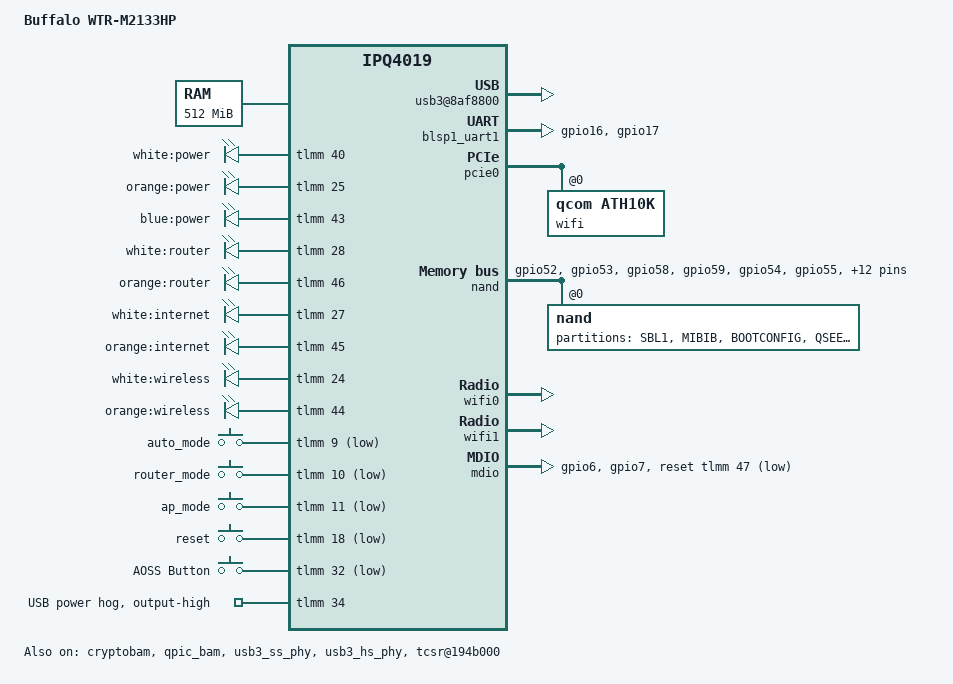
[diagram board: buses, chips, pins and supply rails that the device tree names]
// SPDX-License-Identifier: ISC
/*
 * Copyright (c) 2015 - 2016, The Linux Foundation. All rights reserved.
 * Copyright (c) 2020 Yanase Yuki <dev@zpc.sakura.ne.jp>
 */

#include "qcom-ipq4019.dtsi"
#include <dt-bindings/input/input.h>
#include <dt-bindings/gpio/gpio.h>
#include <dt-bindings/soc/qcom,tcsr.h>

/ {
	model = "Buffalo WTR-M2133HP";
	compatible = "buffalo,wtr-m2133hp", "qcom,ipq4019";

	memory {
		device_type = "memory";
		reg = <0x80000000 0x20000000>;
	};

	chosen {
		/*
		 * U-Boot adds "ubi.mtd=rootfs root=mtd:ubi_rootfs" to
		 * kernel command line. But we use different partition names,
		 * so we have to set correct parameters.
		 */
		bootargs-append = " ubi.mtd=ubi root=/dev/ubiblock0_1";
	};

	aliases {
		led-boot = &led_power_blue;
		led-failsafe = &led_power_orange;
		led-running = &led_power_white;
		led-upgrade = &led_power_blue;
		label-mac-device = &gmac0;
	};

	soc {
		rng@22000 {
			status = "okay";
		};

		tcsr@1949000 {
			compatible = "qcom,tcsr";
			reg = <0x1949000 0x100>;
			qcom,wifi_glb_cfg = <TCSR_WIFI_GLB_CFG>;
		};

		tcsr@194b000 {
			compatible = "qcom,tcsr";
			reg = <0x194b000 0x100>;
			qcom,usb-hsphy-mode-select = <TCSR_USB_HSPHY_HOST_MODE>;
			status = "okay";
		};

		ess_tcsr@1953000 {
			compatible = "qcom,tcsr";
			reg = <0x1953000 0x1000>;
			qcom,ess-interface-select = <TCSR_ESS_PSGMII>;
		};

		tcsr@1957000 {
			compatible = "qcom,tcsr";
			reg = <0x1957000 0x100>;
			qcom,wifi_noc_memtype_m0_m2 = <TCSR_WIFI_NOC_MEMTYPE_M0_M2>;
		};

		crypto@8e3a000 {
			status = "okay";
		};

		watchdog@b017000 {
			status = "okay";
		};

		ess-switch@c000000 {
			status = "okay";
			switch_lan_bmp = <0x1c>;
		};

		ess-psgmii@98000 {
			status = "okay";
		};

		edma@c080000 {
			status = "okay";
		};

		usb3@8af8800 {
			status = "okay";
		};
	};

	leds {
		compatible = "gpio-leds";

		led_power_white: power_white {
			label = "white:power";
			gpios = <&tlmm 40 GPIO_ACTIVE_HIGH>;
		};

		led_power_orange: power_orange {
			label = "orange:power";
			gpios = <&tlmm 25 GPIO_ACTIVE_HIGH>;
		};

		led_power_blue: power_blue {
			label = "blue:power";
			gpios = <&tlmm 43 GPIO_ACTIVE_HIGH>;
		};

		router_white {
			label = "white:router";
			gpios = <&tlmm 28 GPIO_ACTIVE_HIGH>;
		};

		router_orange {
			label = "orange:router";
			gpios = <&tlmm 46 GPIO_ACTIVE_HIGH>;
		};

		internet_white {
			label = "white:internet";
			gpios = <&tlmm 27 GPIO_ACTIVE_HIGH>;
		};

		internet_orange {
			label = "orange:internet";
			gpios = <&tlmm 45 GPIO_ACTIVE_HIGH>;
		};

		wireless_white {
			label = "white:wireless";
			gpios = <&tlmm 24 GPIO_ACTIVE_HIGH>;
		};

		wireless_orange {
			label = "orange:wireless";
			gpios = <&tlmm 44 GPIO_ACTIVE_HIGH>;
		};
	};

	keys {
		compatible = "gpio-keys";

		auto_mode {
			label = "auto_mode";
			gpios = <&tlmm 9 GPIO_ACTIVE_LOW>;
			linux,code = <BTN_0>;
			linux,input-type = <EV_SW>;
		};

		router_mode {
			label = "router_mode";
			gpios = <&tlmm 10 GPIO_ACTIVE_LOW>;
			linux,code = <BTN_1>;
			linux,input-type = <EV_SW>;
		};

		ap_mode {
			label = "ap_mode";
			gpios = <&tlmm 11 GPIO_ACTIVE_LOW>;
			linux,code = <BTN_2>;
			linux,input-type = <EV_SW>;
		};

		reset {
			label = "reset";
			gpios = <&tlmm 18 GPIO_ACTIVE_LOW>;
			linux,code = <KEY_RESTART>;
		};

		wps {
			label = "AOSS Button";
			gpios = <&tlmm 32 GPIO_ACTIVE_LOW>;
			linux,code = <KEY_WPS_BUTTON>;
		};
	};
};

&tlmm {
	serial_0_pins: serial0_pinmux {
		mux {
			pins = "gpio16", "gpio17";
			function = "blsp_uart0";
			bias-disable;
		};
	};

	mdio_pins: mdio_pinmux {
		mux_1 {
			pins = "gpio6";
			function = "mdio";
			bias-pull-up;
		};

		mux_2 {
			pins = "gpio7";
			function = "mdc";
			bias-pull-up;
		};
	};

	nand_pins: nand_pins {
		pullups {
			pins = "gpio52", "gpio53", "gpio58",
				"gpio59";
			function = "qpic";
			bias-pull-up;
		};

		pulldowns {
			pins = "gpio54", "gpio55", "gpio56",
				"gpio57", "gpio60", "gpio61",
				"gpio62", "gpio63", "gpio64",
				"gpio65", "gpio66", "gpio67",
				"gpio68", "gpio69";
			function = "qpic";
			bias-pull-down;
		};
	};

	usb_power {
		line-name = "USB power";
		gpios = <34 GPIO_ACTIVE_HIGH>;
		gpio-hog;
		output-high;
	};
};

&blsp_dma {
	status = "okay";
};

&blsp1_uart1 {
	pinctrl-0 = <&serial_0_pins>;
	pinctrl-names = "default";
	status = "okay";
};

&cryptobam {
	status = "okay";
};

&pcie0 {
	status = "okay";

	bridge@0,0 {
		reg = <0x00000000 0 0 0 0>;
		#address-cells = <3>;
		#size-cells = <2>;
		ranges;

		wifi@0,0 {
			compatible = "qcom,ath10k";
			reg = <0 0 0 0 0>;
			nvmem-cell-names = "pre-calibration", "mac-address";
			nvmem-cells = <&precal_art_9000>, <&macaddr_orgdata_32>;
			qcom,ath10k-calibration-variant = "Buffalo-WTR-M2133HP";
		};
	};
};

&qpic_bam {
	status = "okay";
};

&nand {
	pinctrl-0 = <&nand_pins>;
	pinctrl-names = "default";
	status = "okay";

	nand@0 {
		partitions {
			compatible = "fixed-partitions";
			#address-cells = <1>;
			#size-cells = <1>;

			partition@0 {
				label = "SBL1";
				reg = <0x0000000 0x0100000>;
				read-only;
			};

			partition@100000 {
				label = "MIBIB";
				reg = <0x0100000 0x0100000>;
				read-only;
			};

			partition@200000 {
				label = "BOOTCONFIG";
				reg = <0x0200000 0x0100000>;
				read-only;
			};

			partition@300000 {
				label = "QSEE";
				reg = <0x0300000 0x0100000>;
				read-only;
			};

			partition@400000 {
				label = "QSEE_1";
				reg = <0x0400000 0x0100000>;
				read-only;
			};

			partition@500000 {
				label = "CDT";
				reg = <0x0500000 0x0080000>;
				read-only;
			};

			partition@580000 {
				label = "CDT_1";
				reg = <0x0580000 0x0080000>;
				read-only;
			};

			partition@600000 {
				label = "BOOTCONFIG1";
				reg = <0x0600000 0x0080000>;
				read-only;
			};

			partition@680000 {
				label = "APPSBLENV";
				reg = <0x0680000 0x0080000>;
			};

			partition@700000 {
				label = "APPSBL";
				reg = <0x0700000 0x0200000>;
				read-only;
			};

			partition@900000 {
				label = "APPSBL_1";
				reg = <0x0900000 0x0200000>;
				read-only;
			};

			partition@b00000 {
				label = "ART";
				reg = <0x0b00000 0x0080000>;
				read-only;
				compatible = "nvmem-cells";
				#address-cells = <1>;
				#size-cells = <1>;

				precal_art_1000: precal@1000 {
					reg = <0x1000 0x2f20>;
				};

				precal_art_5000: precal@5000 {
					reg = <0x5000 0x2f20>;
				};

				precal_art_9000: precal@9000 {
					reg = <0x5000 0x2f20>;
				};
			};

			partition@b80000 {
				label = "ART_1";
				reg = <0x0b80000 0x0080000>;
				read-only;
			};

			orgdata: partition@c00000 {
				label = "ORGDATA";
				reg = <0x0c00000 0x0080000>;
				read-only;
				compatible = "nvmem-cells";
				#address-cells = <1>;
				#size-cells = <1>;

				macaddr_orgdata_20: macaddr@20 {
					reg = <0x20 0x6>;
				};
				macaddr_orgdata_26: macaddr@26 {
					reg = <0x26 0x6>;
				};
				macaddr_orgdata_2c: macaddr@2c {
					reg = <0x2c 0x6>;
				};
				macaddr_orgdata_32: macaddr@32 {
					reg = <0x32 0x6>;
				};
			};

			partition@c80000 {
				label = "ORGDATA_1";
				reg = <0x0c80000 0x0080000>;
				read-only;
			};

			partition@d00000 {
				label = "ubi";
				reg = <0x0d00000 0x2900000>;
			};

			partition@3600000 {
				label = "rootfs_recover";
				reg = <0x3600000 0x2900000>;
				read-only;
			};

			partition@5f00000 {
				label = "user_property";
				reg = <0x5f00000 0x1a20000>;
				read-only;
			};
		};
	};
};

&wifi0 {
	status = "okay";
	nvmem-cell-names = "pre-calibration", "mac-address";
	nvmem-cells = <&precal_art_1000>, <&macaddr_orgdata_26>;
	qcom,ath10k-calibration-variant = "Buffalo-WTR-M2133HP";
	ieee80211-freq-limit = <2400000 2483000>;
};

&wifi1 {
	status = "okay";
	nvmem-cell-names = "pre-calibration", "mac-address";
	nvmem-cells = <&precal_art_5000>, <&macaddr_orgdata_2c>;
	qcom,ath10k-calibration-variant = "Buffalo-WTR-M2133HP";
};

&mdio {
	status = "okay";
	pinctrl-0 = <&mdio_pins>;
	pinctrl-names = "default";
	reset-gpios = <&tlmm 47 GPIO_ACTIVE_LOW>;
};

&gmac0 {
	nvmem-cells = <&macaddr_orgdata_20>;
	nvmem-cell-names = "mac-address";
};

&gmac1 {
	nvmem-cells = <&macaddr_orgdata_20>;
	nvmem-cell-names = "mac-address";
};

&usb3_ss_phy {
	status = "okay";
};

&usb3_hs_phy {
	status = "okay";
};
